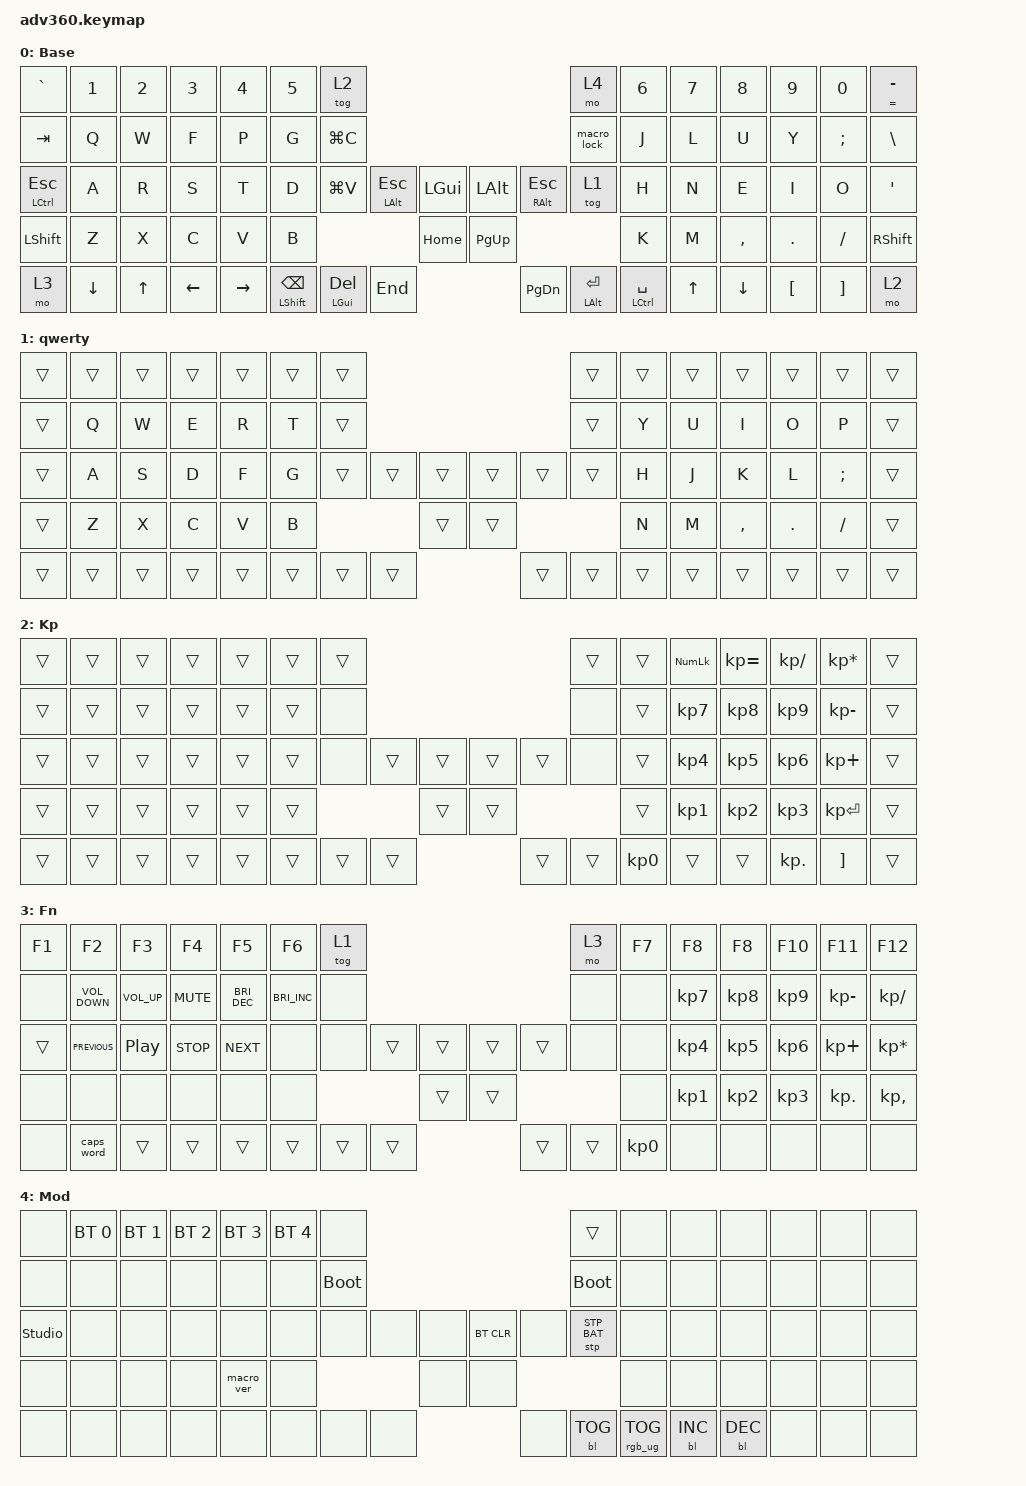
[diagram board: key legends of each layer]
#include <behaviors.dtsi>
#include <dt-bindings/zmk/keys.h>
#include <dt-bindings/zmk/bt.h>
#include <dt-bindings/zmk/rgb.h>
#include <dt-bindings/zmk/stp.h>
#include <dt-bindings/zmk/backlight.h>
#include <dt-bindings/zmk/pointing.h>

#define AS(keycode) &as LS(keycode) keycode // Autoshift Macro with AS(Key)

&caps_word {
    continue-list = <UNDERSCORE MINUS BACKSPACE SLASH QUESTION LSHFT RSHFT>;
};

/ {
    behaviors {
      #include "macros.dtsi"
      #include "version.dtsi"

      at: auto_tap {
          compatible = "zmk,behavior-hold-tap";
          label = "AUTO_TAP";
          #binding-cells = <2>;
          tapping-term-ms = <135>;
          quick_tap_ms = <0>;
          flavor = "tap-preferred";
          bindings = <&kp>, <&kp>;
      };
      hm: homerow_mods {
          compatible = "zmk,behavior-hold-tap";
          label = "HOMEROW_MODS";
          #binding-cells = <2>;
          tapping-term-ms = <200>;
          quick_tap_ms = <175>;
          flavor = "tap-preferred";
          bindings = <&kp>, <&kp>;
      };
      as: auto_shift {
          compatible = "zmk,behavior-hold-tap";
          label = "AUTO_SHIFT";
          #binding-cells = <2>;
          tapping_term_ms = <135>;
          quick_tap_ms = <0>;
          flavor = "tap-preferred";
          bindings = <&kp>, <&kp>;
      };
    };

    macros {
      macro_lock: macro_lock {
        compatible = "zmk,behavior-macro";
        label = "macro_lock";
        #binding-cells = <0>;
        bindings
            = <&macro_press &kp LGUI &kp LCTRL>
            , <&macro_tap &kp Q>
            , <&macro_release &kp LGUI &kp LCTRL>
            ;
      };
      macro_terminal: macro_terminal {
        compatible = "zmk,behavior-macro";
        label = "macro_terminal";
        #binding-cells = <0>;
        bindings
            = <&macro_press &kp LCTRL &kp LALT>
            , <&macro_tap &kp T>
            , <&macro_release &kp LCTRL &kp LALT>
            ;
      };
    };

  keymap {
    compatible = "zmk,keymap";

    default_layer {
      display-name = "Base";
      bindings = <
        &kp GRAVE     &kp N1     &kp N2     &kp N3   &kp N4     &kp N5 &tog 2                                                                                    &mo 4           &kp N6 &kp N7 &kp N8    &kp N9   &kp N0   &at EQUAL MINUS
        &kp TAB       &kp Q      &kp W      &kp F    &kp P      &kp G  &kp LG(C)                                                                                 &macro_lock     &kp J  &kp L  &kp U     &kp Y    &kp SEMI &kp BSLH
        &at LCTRL ESC &kp A      &kp R      &kp S    &kp T      &kp D  &kp LG(V)                  &at LALT ESC &kp LGUI &kp LALT  &at RALT ESC                   &tog 1          &kp H  &kp N  &kp E     &kp I    &kp O    &kp SQT
        &kp LSHFT     &kp Z      &kp X      &kp C    &kp V      &kp B                                          &kp HOME &kp PG_UP                                                &kp K  &kp M  &kp COMMA &kp DOT  &kp FSLH &kp RSHFT
        &mo 3         &kp DOWN   &kp UP     &kp LEFT &kp RIGHT                   &at LSHIFT BSPC  &at LGUI DEL &kp END  &kp PG_DN &at LALT ENTER &at LCTRL SPACE                        &kp UP &kp DOWN  &kp LBKT &kp RBKT &mo 2
      >;
    };
    qwerty {
      bindings = <
        &trans &trans &trans &trans &trans &trans &trans                                                      &trans &trans &trans &trans    &trans  &trans   &trans
        &trans &kp Q  &kp W  &kp E  &kp R  &kp T  &trans                                                      &trans &kp Y  &kp U  &kp I     &kp O   &kp P    &trans
        &trans &kp A  &kp S  &kp D  &kp F  &kp G  &trans          &trans    &trans   &trans  &trans           &trans &kp H  &kp J  &kp K     &kp L   &kp SEMI &trans
        &trans &kp Z  &kp X  &kp C  &kp V  &kp B                            &trans   &trans                          &kp N  &kp M  &kp COMMA &kp DOT &kp FSLH &trans
        &trans &trans &trans &trans &trans               &trans   &trans    &trans   &trans  &trans &trans                  &trans &trans    &trans  &trans   &trans
      >;
    };
    keypad {
      display-name = "Kp";
      bindings = <
        &trans &trans &trans &trans &trans &trans &trans                                                           &trans &trans &kp KP_NUM &kp KP_EQUAL &kp KP_DIVIDE &kp KP_MULTIPLY &trans
        &trans &trans &trans &trans &trans &trans &none                                                            &none  &trans &kp KP_N7  &kp KP_N8    &kp KP_N9     &kp KP_MINUS    &trans
        &trans &trans &trans &trans &trans &trans &none           &trans    &trans   &trans  &trans                &none  &trans &kp KP_N4  &kp KP_N5    &kp KP_N6     &kp KP_PLUS     &trans
        &trans &trans &trans &trans &trans &trans                           &trans   &trans                               &trans &kp KP_N1  &kp KP_N2    &kp KP_N3     &kp KP_ENTER    &trans
        &trans &trans &trans &trans &trans               &trans   &trans    &trans   &trans  &trans &kp KP_N0                    &trans     &trans       &kp KP_DOT    &kp RBKT        &trans
      >;
    };
    fn {
      display-name = "Fn";
      bindings = <
        &kp F1 &kp F2            &kp F3           &kp F4     &kp F5               &kp F6               &tog 1                                          &mo 3 &kp F7 &kp F8    &kp F8    &kp F10   &kp F11      &kp F12
        &none  &kp C_VOLUME_DOWN &kp C_VOLUME_UP  &kp C_MUTE &kp C_BRIGHTNESS_DEC &kp C_BRIGHTNESS_INC &none                                           &none &none  &kp KP_N7 &kp KP_N8 &kp KP_N9 &kp KP_MINUS &kp KP_DIVIDE
        &trans &kp C_PREVIOUS    &kp C_PLAY_PAUSE &kp C_STOP &kp C_NEXT           &none                &none        &trans &trans &trans &trans        &none &none  &kp KP_N4 &kp KP_N5 &kp KP_N6 &kp KP_PLUS  &kp KP_MULTIPLY
        &none  &none             &none            &none      &none                &none                                 &trans &trans                        &none  &kp KP_N1 &kp KP_N2 &kp KP_N3 &kp KP_DOT   &kp KP_COMMA
        &none  &caps_word        &trans           &trans     &trans                                       &trans &trans &trans &trans &trans &kp KP_N0              &none     &none     &none     &none        &none
      >;
    };
    mod {
      display-name = "Mod";
      bindings = <
        &none &bt BT_SEL 0 &bt BT_SEL 1 &bt BT_SEL 2 &bt BT_SEL 3 &bt BT_SEL 4 &none                                                                     &trans                 &none        &none        &none        &none &none &none
        &none &none        &none        &none        &none        &none        &bootloader                                                               &bootloader            &none        &none        &none        &none &none &none
        &studio_unlock &none        &none        &none        &none        &none        &none                   &none &none &bt BT_CLR &none                      &stp STP_BAT &none        &none        &none        &none &none &none
        &none &none        &none        &none        &macro_ver   &none                                      &none &none                                                        &none        &none        &none        &none &none &none
        &none &none        &none        &none        &none                                       &none &none &none &none      &bl BL_TOG &rgb_ug RGB_TOG                                     &bl BL_INC   &bl BL_DEC   &none &none &none
      >;
    };
    extra1 { 
      display-name = "Red";    
      status = "reserved";
    };

    extra2 { 
      display-name = "Purple";    
      status = "reserved";
    };

    extra3 { 
      display-name = "Cyan";    
      status = "reserved";
    };

    extra4 { 
      display-name = "Yellow";    
      status = "reserved";
    };
  };
};
